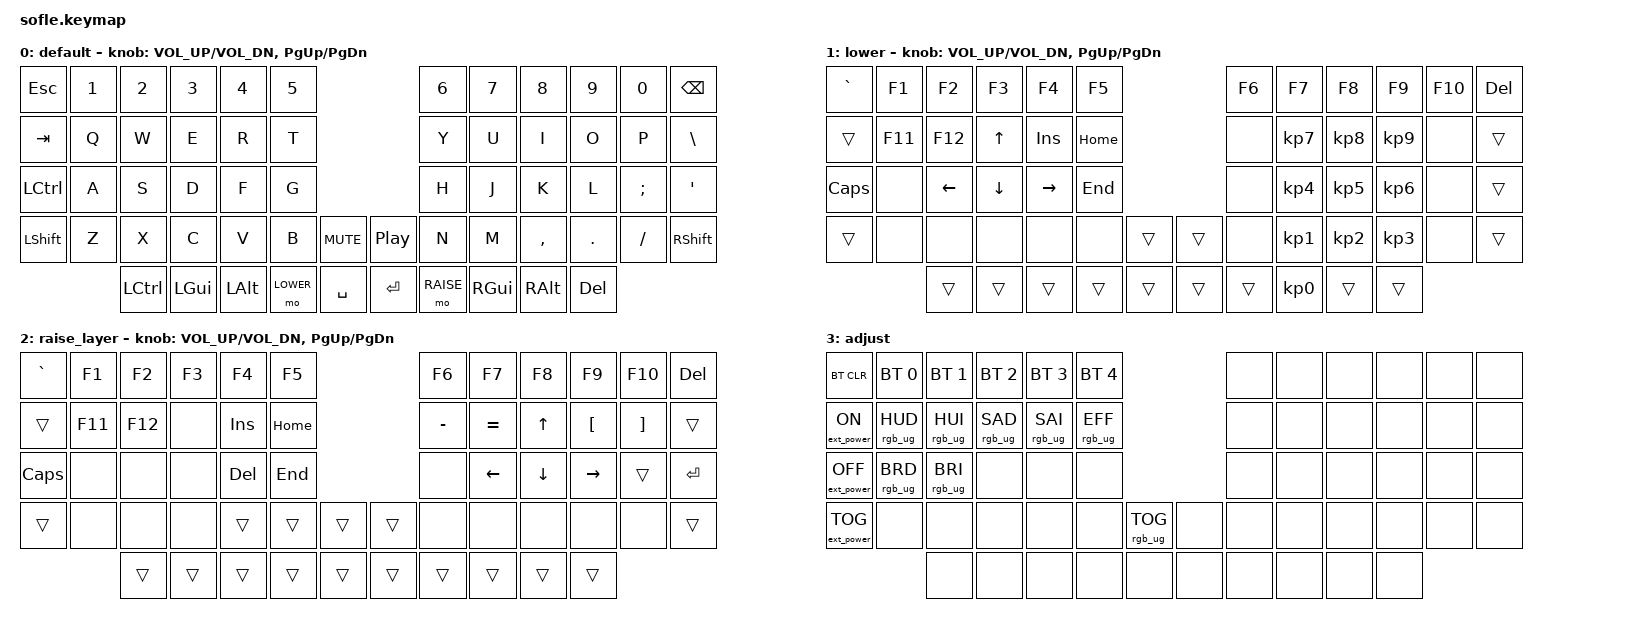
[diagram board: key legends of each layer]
/*
 * Copyright (c) 2020 The ZMK Contributors
 *
 * SPDX-License-Identifier: MIT
 */

#include <behaviors.dtsi>
#include <dt-bindings/zmk/keys.h>
#include <dt-bindings/zmk/bt.h>
#include <dt-bindings/zmk/rgb.h>
#include <dt-bindings/zmk/ext_power.h>

#define BASE 0
#define LOWER 1
#define RAISE 2
#define ADJUST 3

/ {

   // Activate ADJUST layer by pressing raise and lower
    conditional_layers {
        compatible = "zmk,conditional-layers";
        adjust_layer {
            if-layers = <LOWER RAISE>;
            then-layer = <ADJUST>;
        };
    };

    keymap {
        compatible = "zmk,keymap";

        default_layer {
            display-name = "default";
// ------------------------------------------------------------------------------------------------------------
// |  ESC  |  1  |  2  |  3   |  4   |  5   |                   |  6   |  7    |  8    |  9   |   0   | BKSPC |
// |  TAB  |  Q  |  W  |  E   |  R   |  T   |                   |  Y   |  U    |  I    |  O   |   P   |  \    |
// |  CTRL |  A  |  S  |  D   |  F   |  G   |                   |  H   |  J    |  K    |  L   |   ;   |   "   |
// | SHIFT |  Z  |  X  |  C   |  V   |  B   |  MUTE  |  | PLAY  |  N   |  M    |  ,    |  .   |   /   | SHIFT |
//               | CTRL | GUI  | ALT | LOWER|  SPACE |  | ENTER | RAISE|  GUI  | ALT   | DEL  |
            bindings = <
&kp ESC   &kp N1 &kp N2   &kp N3   &kp N4    &kp N5                           &kp N6 &kp N7    &kp N8    &kp N9   &kp N0   &kp BSPC
&kp TAB   &kp Q  &kp W    &kp E    &kp R     &kp T                            &kp Y  &kp U     &kp I     &kp O    &kp P    &kp BSLH
&kp LCTRL &kp A  &kp S    &kp D    &kp F     &kp G                            &kp H  &kp J     &kp K     &kp L    &kp SEMI &kp SQT
&kp LSHFT &kp Z  &kp X    &kp C    &kp V     &kp B      &kp C_MUTE &kp C_PP   &kp N  &kp M     &kp COMMA &kp DOT  &kp FSLH &kp RSHFT
                 &kp LCTRL &kp LGUI &kp LALT &mo LOWER  &kp SPACE  &kp ENTER  &mo RAISE  &kp RGUI &kp RALT  &kp DEL
            >;

            sensor-bindings = <&inc_dec_kp C_VOL_UP C_VOL_DN &inc_dec_kp PG_UP PG_DN>;
        };

        lower_layer {
            display-name = "lower";
// TODO: Some binds are waiting for shifted keycode support.
// ------------------------------------------------------------------------------------------------------------
// |   `   |  F1 |  F2 |  F3  |  F4  |  F5  |                   |  F6  |  F7   |  F8   |  F9  |  F10  |  DEL  |
// |       |  F11|  F12|   ^   |  INS | HOME |                   |  -   |   =   |   ^   |  [   |   ]   |       |
// | CAPS  |     |  <- |   v   |  ->  | END  |                    |      |   <-  |   v   |  ->  |      |ENTER |
// |       |     |     |      |      |      |        |  |       |      |       |       |      |       |       |
//               |     |      |      |      |        |  |       |      |       |       |      |
            bindings = <
&kp GRAVE  &kp F1    &kp F2    &kp F3      &kp F4    &kp F5                 &kp F6    &kp F7    &kp F8    &kp F9    &kp F10   &kp DEL
&trans     &kp F11   &kp F12   &kp UP      &kp INS   &kp HOME               &none     &kp KP_N7 &kp KP_N8 &kp KP_N9  &none     &trans
&kp CAPS   &none     &kp LEFT  &kp DOWN    &kp RIGHT &kp END                &none     &kp KP_N4 &kp KP_N5 &kp KP_N6  &none     &trans
&trans     &none     &none     &none       &none     &none   &trans &trans  &none     &kp KP_N1 &kp KP_N2 &kp KP_N3  &none     &trans
                     &trans    &trans      &trans    &trans  &trans &trans  &trans    &kp KP_N0 &trans    &trans
            >;

            sensor-bindings = <&inc_dec_kp C_VOL_UP C_VOL_DN &inc_dec_kp PG_UP PG_DN>;
        };

        raise_layer {
// ------------------------------------------------------------------------------------------------------------
// |   `   |  F1 |  F2 |  F3  |  F4  |  F5  |                   |  F6  |  F7   |  F8   |  F9  |  F10  |  DEL  |
// |       |  F11|  F12|      |  INS | HOME |                   |      |   7   |   8   |  9   |       |       |
// | CAPS  |     |     |      |  DEL | END  |                   |      |   4   |   5   |  6   |       |       |
// |       |     |     |      |      |      |        |  |       |      |   1   |   2   |  3   |       |       |
//               |     |      |      |      |        |  |       |      |   0   |       |      |
            bindings = <
&kp GRAVE  &kp F1    &kp F2    &kp F3      &kp F4    &kp F5                 &kp F6    &kp F7    &kp F8    &kp F9    &kp F10   &kp DEL
&trans     &kp F11   &kp F12   &none       &kp INS   &kp HOME               &kp MINUS &kp EQUAL &kp UP    &kp LBKT  &kp RBKT  &trans
&kp CAPS   &none     &none     &none       &kp DEL   &kp END                &none     &kp LEFT  &kp DOWN  &kp RIGHT &trans &kp ENTER 
&trans     &none     &none     &none       &trans    &trans  &trans &trans  &none     &none     &none     &none     &none     &trans
                     &trans    &trans      &trans    &trans  &trans &trans  &trans    &trans    &trans    &trans
            >;

            sensor-bindings = <&inc_dec_kp C_VOL_UP C_VOL_DN &inc_dec_kp PG_UP PG_DN>;
        };

        adjust_layer {
// ----------------------------------------------------------------------------------------------------------------------------
// | BTCLR  |  BT1    |  BT2    |   BT3   |   BT4   |   BT5   |                  |      |      |       |      |       |       |
// | EXTPWR | RGB_HUD | RGB_HUI | RGB_SAD | RGB_SAI | RGB_EFF |                  |      |      |       |      |       |       |
// | EXTPWR | RGB_BRD | RGB_BRI |         |         |         |                  |      |      |       |      |       |       |
// |        |         |         |         |         |         | RGB_TOG | |      |      |      |       |      |       |       |
//                    |         |         |         |         |         | |      |      |      |       |      |
            display-name = "adjust";
            bindings = <
&bt BT_CLR        &bt BT_SEL 0    &bt BT_SEL 1    &bt BT_SEL 2    &bt BT_SEL 3    &bt BT_SEL 4                            &none &none &none &none &none &none
&ext_power EP_ON &rgb_ug RGB_HUD &rgb_ug RGB_HUI &rgb_ug RGB_SAD &rgb_ug RGB_SAI &rgb_ug RGB_EFF                         &none &none &none &none &none &none
&ext_power EP_OFF &rgb_ug RGB_BRD &rgb_ug RGB_BRI &none           &none           &none                                   &none &none &none &none &none &none
&ext_power EP_TOG &none           &none           &none           &none           &none            &rgb_ug RGB_TOG &none  &none &none &none &none &none &none
                                  &none           &none           &none           &none            &none           &none  &none &none &none &none
            >;
        };

    };
};
